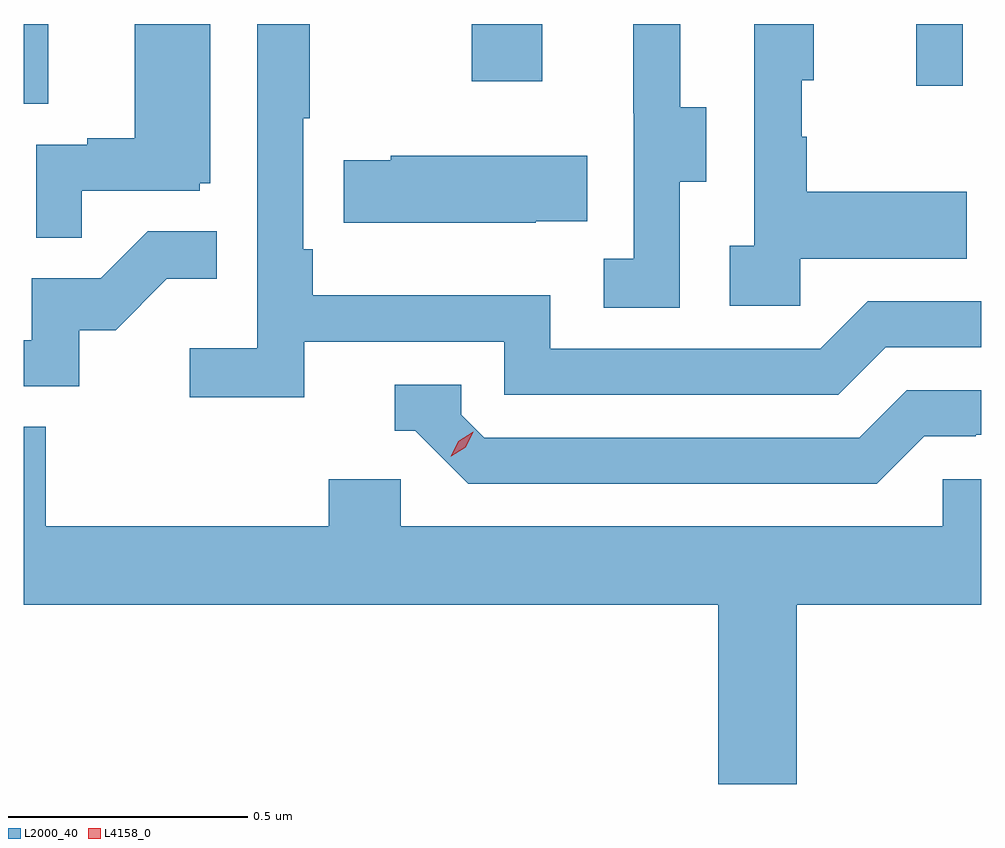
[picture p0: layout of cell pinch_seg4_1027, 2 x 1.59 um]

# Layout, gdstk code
import gdstk
lib = gdstk.Library(unit=1e-6, precision=1e-09)
def R(c, l, rs):  # rectangles x0, y0, x1, y1
    for r in rs: c.add(gdstk.rectangle(r[:2], r[2:], *l))
def P(c, l, *ps):  # polygons
    for p in ps: c.add(gdstk.Polygon(p, *l))
L2000_40 = (2000, 40)
L4158_0 = (4158, 0)

pinch_seg4_1027 = lib.new_cell('pinch_seg4_1027')
R(pinch_seg4_1027, L2000_40, [(798.922,784.546,798.973,784.713), (800.786,784.584,800.883,784.713), (799.858,784.593,800.005,784.713)])
P(pinch_seg4_1027, L2000_40, [(799.043,784.365),(799.29,784.365),(799.29,784.38),(799.312,784.38),(799.312,784.713),(799.154,784.713),(799.154,784.474),(799.055,784.474),(799.055,784.461),(798.948,784.461),(798.948,784.267),(799.043,784.267)],
  [(800.292,784.384),(800.347,784.384),(800.347,784.539),(800.293,784.539),(800.293,784.713),(800.195,784.713),(800.195,784.527),(800.196,784.527),(800.196,784.223),(800.133,784.223),(800.133,784.12),(800.292,784.12)],
  [(799.508,784.05),(799.926,784.05),(799.926,783.939),(800.623,783.939),(800.722,784.038),(800.922,784.038),(800.922,784.134),(800.685,784.134),(800.586,784.035),(800.022,784.035),(800.022,784.147),(799.526,784.147),(799.526,784.243),(799.506,784.243),(799.506,784.516),(799.519,784.516),(799.519,784.713),(799.41,784.713),(799.41,784.036),(799.269,784.036),(799.269,783.934),(799.508,783.934)],
  [(800.544,784.223),(800.891,784.223),(800.891,784.363),(800.557,784.363),(800.557,784.478),(800.547,784.478),(800.547,784.596),(800.572,784.596),(800.572,784.713),(800.448,784.713),(800.448,784.25),(800.397,784.25),(800.397,784.125),(800.544,784.125)],
  [(799.991,784.301),(800.099,784.301),(800.099,784.438),(799.689,784.438),(799.689,784.428),(799.591,784.428),(799.591,784.298),(799.991,784.298)],
  [(799.038,784.074),(799.114,784.074),(799.221,784.181),(799.325,784.181),(799.325,784.28),(799.181,784.28),(799.083,784.182),(798.939,784.182),(798.939,784.053),(798.922,784.053),(798.922,783.957),(799.038,783.957)],
  [(800.803,783.852),(800.91,783.852),(800.91,783.855),(800.922,783.855),(800.922,783.948),(800.766,783.948),(800.667,783.849),(799.884,783.849),(799.836,783.897),(799.836,783.96),(799.697,783.96),(799.697,783.864),(799.74,783.864),(799.851,783.753),(800.704,783.753)],
  [(800.536,783.5),(800.922,783.5),(800.922,783.762),(800.841,783.762),(800.841,783.664),(799.71,783.664),(799.71,783.762),(799.559,783.762),(799.559,783.664),(798.968,783.664),(798.968,783.872),(798.922,783.872),(798.922,783.5),(800.372,783.5),(800.372,783.126),(800.536,783.126)])
P(pinch_seg4_1027, L4158_0, [(799.814,783.81),(799.814,783.81),(799.83,783.842),(799.861,783.862),(799.861,783.862),(799.861,783.862),(799.845,783.829),(799.815,783.81)])

lib.write_gds('pinch_seg4_1027.gds')
